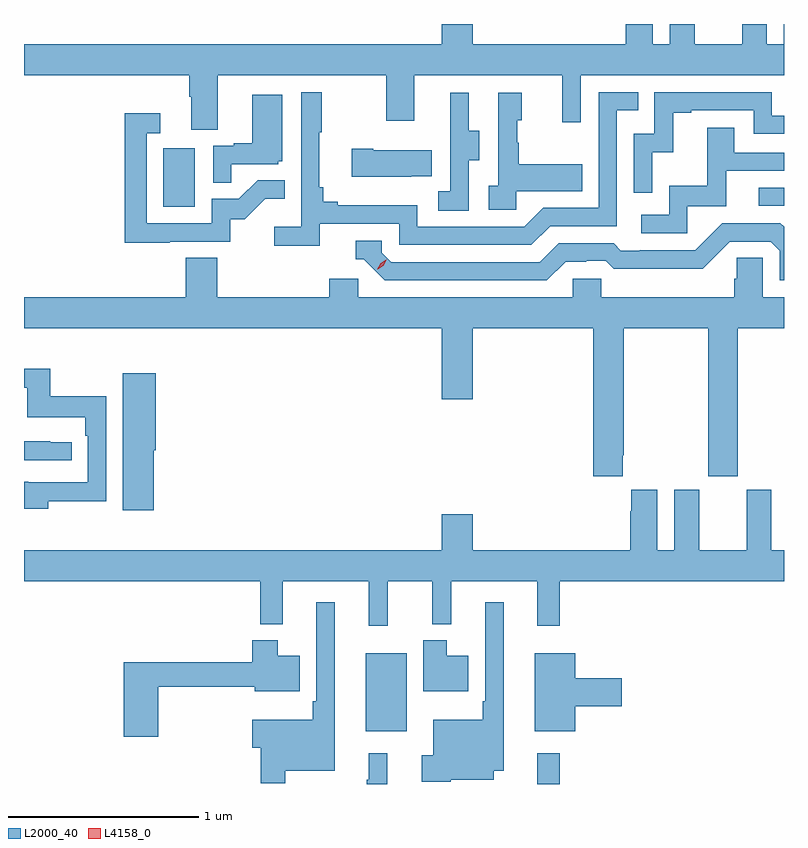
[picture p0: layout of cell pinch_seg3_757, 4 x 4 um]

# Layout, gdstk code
import gdstk
lib = gdstk.Library(unit=1e-6, precision=1e-09)
def R(c, l, rs):  # rectangles x0, y0, x1, y1
    for r in rs: c.add(gdstk.rectangle(r[:2], r[2:], *l))
def P(c, l, *ps):  # polygons
    for p in ps: c.add(gdstk.Polygon(p, *l))
L2000_40 = (2000, 40)
L4158_0 = (4158, 0)

pinch_seg3_757 = lib.new_cell('pinch_seg3_757')
R(pinch_seg3_757, L2000_40, [(848.827,741.142,848.945,741.304), (847.925,741.419,848.14,741.829), (846.86,744.18,847.024,744.487), (849.993,744.186,850.126,744.279)])
P(pinch_seg3_757, L2000_40, [(847.147,744.872),(848.032,744.872),(848.032,744.633),(848.179,744.633),(848.179,744.872),(848.96,744.872),(848.96,744.624),(849.057,744.624),(849.057,744.872),(850.126,744.872),(850.126,745.142),(850.124,745.142),(850.124,745.036),(850.036,745.036),(850.036,745.142),(849.905,745.142),(849.905,745.036),(849.655,745.036),(849.655,745.142),(849.524,745.142),(849.524,745.036),(849.436,745.036),(849.436,745.142),(849.293,745.142),(849.293,745.036),(848.488,745.036),(848.488,745.142),(848.324,745.142),(848.324,745.036),(846.126,745.036),(846.126,744.872),(846.995,744.872),(846.995,744.76),(847.007,744.76),(847.007,744.586),(847.147,744.586)],
  [(847.682,744.09),(848.1,744.09),(848.1,743.979),(848.797,743.979),(848.896,744.078),(849.246,744.078),(849.246,744.687),(849.359,744.687),(849.359,744.783),(849.15,744.783),(849.15,744.174),(848.859,744.174),(848.76,744.075),(848.196,744.075),(848.196,744.187),(847.777,744.187),(847.777,744.206),(847.7,744.206),(847.7,744.283),(847.681,744.283),(847.681,744.571),(847.693,744.571),(847.693,744.784),(847.584,744.784),(847.584,744.076),(847.443,744.076),(847.443,743.974),(847.682,743.974)],
  [(849.432,744.467),(849.542,744.467),(849.542,744.675),(849.637,744.675),(849.637,744.687),(849.966,744.687),(849.966,744.564),(850.126,744.564),(850.126,744.66),(850.062,744.66),(850.062,744.783),(849.444,744.783),(849.444,744.564),(849.336,744.564),(849.336,744.255),(849.432,744.255)],
  [(848.718,744.263),(849.065,744.263),(849.065,744.403),(848.731,744.403),(848.731,744.518),(848.721,744.518),(848.721,744.636),(848.746,744.636),(848.746,744.781),(848.622,744.781),(848.622,744.29),(848.571,744.29),(848.571,744.165),(848.718,744.165)],
  [(848.466,744.424),(848.521,744.424),(848.521,744.579),(848.467,744.579),(848.467,744.781),(848.369,744.781),(848.369,744.567),(848.37,744.567),(848.37,744.263),(848.307,744.263),(848.307,744.16),(848.466,744.16)],
  [(847.217,744.405),(847.464,744.405),(847.464,744.42),(847.486,744.42),(847.486,744.769),(847.328,744.769),(847.328,744.514),(847.229,744.514),(847.229,744.501),(847.122,744.501),(847.122,744.307),(847.217,744.307)],
  [(846.893,743.997),(847.212,743.997),(847.212,744.114),(847.288,744.114),(847.395,744.221),(847.499,744.221),(847.499,744.32),(847.355,744.32),(847.257,744.222),(847.113,744.222),(847.113,744.093),(846.771,744.093),(846.771,744.567),(846.844,744.567),(846.844,744.673),(846.655,744.673),(846.655,743.992),(846.893,743.992)],
  [(849.618,744.183),(849.823,744.183),(849.823,744.369),(850.126,744.369),(850.126,744.465),(849.865,744.465),(849.865,744.595),(849.721,744.595),(849.721,744.292),(849.522,744.292),(849.522,744.138),(849.375,744.138),(849.375,744.042),(849.618,744.042)],
  [(848.165,744.341),(848.273,744.341),(848.273,744.478),(847.963,744.478),(847.963,744.486),(847.851,744.486),(847.851,744.338),(848.165,744.338)],
  [(848.977,743.892),(849.084,743.892),(849.084,743.895),(849.187,743.895),(849.229,743.853),(849.462,743.853),(849.462,743.855),(849.698,743.855),(849.84,743.997),(850.056,743.997),(850.104,743.949),(850.104,743.793),(850.126,743.793),(850.126,744.074),(850.107,744.093),(849.801,744.093),(849.66,743.952),(849.367,743.952),(849.367,743.949),(849.268,743.949),(849.229,743.988),(848.94,743.988),(848.841,743.889),(848.058,743.889),(848.01,743.937),(848.01,744),(847.871,744),(847.871,743.904),(847.914,743.904),(848.025,743.793),(848.878,743.793)],
  [(849.277,742.873),(849.282,742.873),(849.282,743.54),(849.727,743.54),(849.727,742.761),(849.882,742.761),(849.882,743.54),(850.126,743.54),(850.126,743.704),(850.014,743.704),(850.014,743.912),(849.877,743.912),(849.877,743.802),(849.863,743.802),(849.863,743.704),(849.165,743.704),(849.165,743.802),(849.015,743.802),(849.015,743.704),(847.884,743.704),(847.884,743.802),(847.733,743.802),(847.733,743.704),(847.142,743.704),(847.142,743.912),(846.977,743.912),(846.977,743.704),(846.126,743.704),(846.126,743.54),(848.324,743.54),(848.324,743.166),(848.488,743.166),(848.488,743.54),(849.122,743.54),(849.122,742.761),(849.277,742.761)],
  [(846.253,742.63),(846.558,742.63),(846.558,743.182),(846.265,743.182),(846.265,743.328),(846.126,743.328),(846.126,743.227),(846.144,743.227),(846.144,743.072),(846.449,743.072),(846.449,742.976),(846.462,742.976),(846.462,742.731),(846.149,742.731),(846.149,742.732),(846.126,742.732),(846.126,742.592),(846.253,742.592)],
  [(846.808,742.899),(846.82,742.899),(846.82,743.305),(846.647,743.305),(846.647,742.584),(846.808,742.584)],
  [(846.376,742.941),(846.263,742.941),(846.263,742.946),(846.126,742.946),(846.126,742.845),(846.376,742.845)],
  [(848.04,742.208),(848.275,742.208),(848.275,741.983),(848.375,741.983),(848.375,742.208),(848.828,742.208),(848.828,741.975),(848.945,741.975),(848.945,742.208),(850.126,742.208),(850.126,742.372),(850.06,742.372),(850.06,742.69),(849.929,742.69),(849.929,742.372),(849.679,742.372),(849.679,742.69),(849.548,742.69),(849.548,742.372),(849.46,742.372),(849.46,742.69),(849.323,742.69),(849.323,742.577),(849.317,742.577),(849.317,742.372),(848.488,742.372),(848.488,742.561),(848.324,742.561),(848.324,742.372),(846.126,742.372),(846.126,742.208),(847.369,742.208),(847.369,741.983),(847.487,741.983),(847.487,742.208),(847.94,742.208),(847.94,741.975),(848.04,741.975)],
  [(848.373,741.164),(848.599,741.164),(848.599,741.212),(848.65,741.212),(848.65,742.099),(848.553,742.099),(848.553,741.577),(848.541,741.577),(848.541,741.481),(848.279,741.481),(848.279,741.294),(848.219,741.294),(848.219,741.155),(848.373,741.155)],
  [(847.501,741.212),(847.762,741.212),(847.762,742.099),(847.665,742.099),(847.665,741.577),(847.645,741.577),(847.645,741.481),(847.328,741.481),(847.328,741.334),(847.372,741.334),(847.372,741.147),(847.501,741.147)],
  [(846.833,741.655),(847.34,741.655),(847.34,741.629),(847.576,741.629),(847.576,741.817),(847.462,741.817),(847.462,741.898),(847.328,741.898),(847.328,741.784),(846.65,741.784),(846.65,741.39),(846.833,741.39)],
  [(848.464,741.817),(848.35,741.817),(848.35,741.898),(848.228,741.898),(848.228,741.629),(848.464,741.629)],
  [(849.028,741.551),(849.271,741.551),(849.271,741.698),(849.028,741.698),(849.028,741.829),(848.813,741.829),(848.813,741.419),(849.028,741.419)],
  [(848.039,741.304),(847.94,741.304),(847.94,741.164),(847.929,741.164),(847.929,741.142),(848.039,741.142)])
P(pinch_seg3_757, L4158_0, [(847.986,743.851),(847.986,743.851),(848.003,743.884),(848.034,743.903),(848.034,743.903),(848.034,743.903),(848.018,743.87),(847.987,743.851)])

lib.write_gds('pinch_seg3_757.gds')
